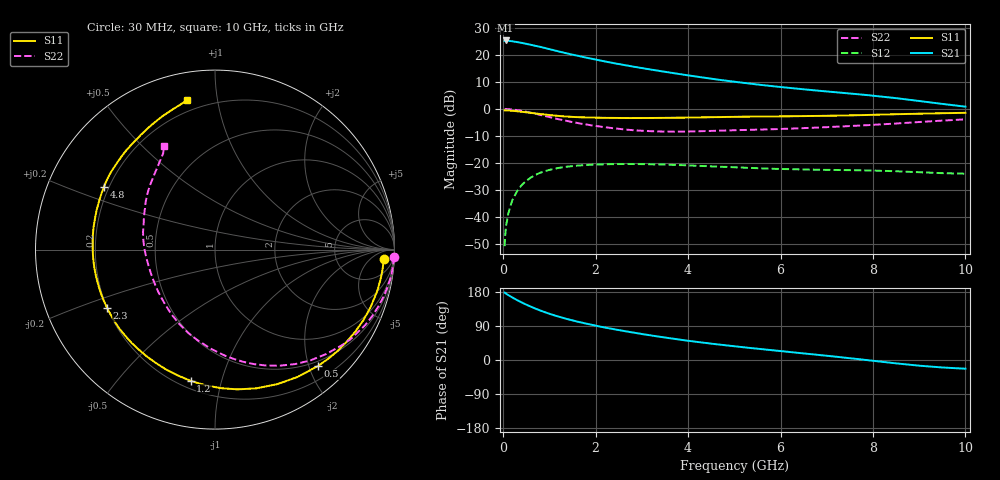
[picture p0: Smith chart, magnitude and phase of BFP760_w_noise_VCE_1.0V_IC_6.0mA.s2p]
! Infineon Technologies  Discrete & RF Semiconductors
! BFP760
! VCE =  1.0 V,  IC =  6.0 mA
! Common Emitter S-Parameters:  Nov 2012
# GHz  S  MA  R  50
!  f  S11  S21  S12  S22
! GHz  MAG  ANG  MAG  ANG  MAG  ANG  MAG  ANG
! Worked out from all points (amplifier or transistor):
!   99 points, 30 MHz to 10 GHz, reference 50 ohm
!   highest |S21| = 25.3 dB at 50 MHz (marker M1)
!   |S21| within 3 dB of that: start of sweep to 949.2 MHz
!   unconditionally stable (mu >= 1): 6.13 GHz to end of sweep
!   at 350 MHz: K = 0.09, MSG = 26.9 dB, |S12| = -29.2 dB
!   at 3.5 GHz: K = 0.53, MSG = 17.2 dB, |S12| = -20.6 dB
!   at 10 GHz: K = 1.35, MAG = 8.9 dB, |S12| = -23.9 dB
!   lowest NFmin = 0.43 dB at 900 MHz
!   S11 on the Smith chart (normalised r, x): 30 MHz: 18, -17; 500 MHz: 0.42, -2.16; 1.2 GHz: 0.25, -0.80; 2.3 GHz: 0.20, -0.24; 4.8 GHz: 0.18, +0.25; 10 GHz: 0.14, +0.82
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0.03  0.942 -3.2  18.18 177.8  0.0029 88.7  0.9971 -2.4
0.05  0.9404 -5.2  18.48 175.7  0.0054 87.5  0.9963 -4.0
0.15  0.9308 -15.4  18.05 168.4  0.0155 80.3  0.9849 -11.8
0.3  0.9061 -30.1  17.26 158.1  0.0301 71.9  0.9509 -23.0
0.4  0.8869 -39.5  16.68 151.8  0.0391 66.5  0.919 -30.1
0.5  0.8662 -48.4  16 146.1  0.047 61.3  0.886 -36.9
0.6  0.8457 -57.1  15.35 140.6  0.054 56.7  0.8493 -43.3
0.8  0.8062 -73.5  14.08 130.7  0.066 48.1  0.7778 -55.1
1  0.7725 -87.7  12.75 122.0  0.0747 40.7  0.7081 -65.9
1.2  0.7435 -100.5  11.57 114.4  0.0812 34.4  0.6464 -75.6
1.4  0.7217 -112.0  10.54 107.6  0.086 29.1  0.5948 -84.4
1.7  0.7004 -127.3  9.267 98.6  0.0907 22.5  0.5314 -96.6
2  0.6911 -140.3  8.201 90.7  0.094 16.8  0.4862 -108.2
2.3  0.6832 -151.5  7.282 83.4  0.0951 11.9  0.4483 -118.9
2.8  0.6793 -167.5  6.096 72.7  0.0958 5.2  0.4056 -135.7
3.4  0.6831 176.2  5.018 61.1  0.0939 -1.3  0.3829 -154.5
4.1  0.6953 161.4  4.063 49.2  0.0895 -6.9  0.3847 -172.7
4.8  0.7104 150.6  3.352 39.0  0.0849 -10.4  0.3991 174.7
5.1  0.717 147.0  3.112 35.0  0.0828 -11.4  0.4063 170.3
6.7  0.7418 131.6  2.225 15.0  0.0755 -13.7  0.4492 150.7
8.5  0.7994 111.4  1.584 -8.9  0.0705 -17.1  0.538 128.9
10  0.8486 100.6  1.103 -23.0  0.0635 -14.9  0.6429 116.2
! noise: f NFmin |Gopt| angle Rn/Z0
0.9  0.43  0.36  26  0.11
1.8  0.51  0.31  54  0.1
2.4  0.6  0.27  76  0.09
3.5  0.77  0.22  111  0.08
5.5  0.98  0.33  -152  0.08
8  1.52  0.45  -100  0.25
